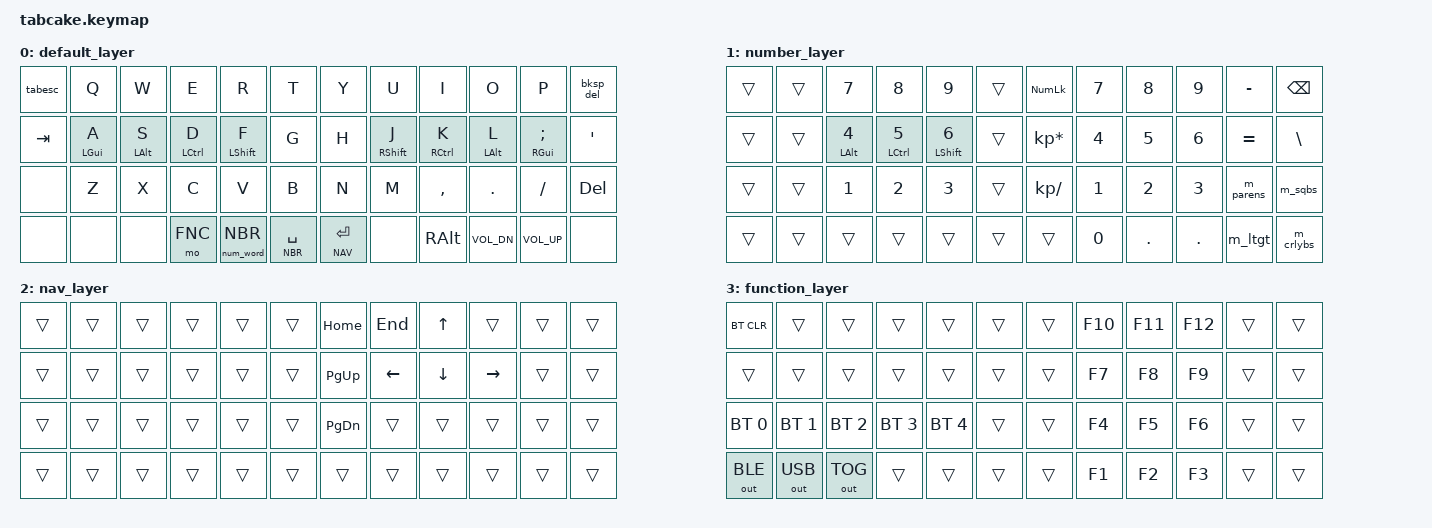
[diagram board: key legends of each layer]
/*
 * Copyright (c) 2022 The ZMK Contributors
 *
 * SPDX-License-Identifier: MIT
 */

#include <behaviors.dtsi>
#include <dt-bindings/zmk/keys.h>
#include <dt-bindings/zmk/bt.h>
#include <dt-bindings/zmk/outputs.h>
#include <behaviors/num_word.dtsi>

#define DEF 0
#define NBR 1
#define NAV 2
#define FNC 3

#define KEYS_L 0 1 3 4 5 6 12 13 14 15 16 17 24 25 26 27 28 29 
#define KEYS_R 6 7 8 9 10 11 18 19 20 21 22 23 30 31 32 33 34 35 
#define KEYS_T 36 37 38 39 40 41 42 43 44 45 46 47
#define KEYS_SH 0 2 5 25 26 27 28 

#define HM_TAPPING_TERM 200
#define HM_TAPPING_TERM_FAST 150
#define HM_PRIOR_IDLE 75


/ {
	behaviors {

		td_cw: tap_dance_cw {
            compatible = "zmk,behavior-tap-dance";
            #binding-cells = <0>;
            tapping-term-ms = <200>;
            bindings = <&mt LSHIFT &caps_word>, <&kp CAPS>;
        };	
		
		tabesc: tab_escape {
            compatible = "zmk,behavior-mod-morph";
            #binding-cells = <0>;
            bindings = <&kp TAB>, <&kp ESC>;
            mods = <(MOD_LSFT|MOD_RSFT)>;
        };
		
		bksp_del: bksp_del {
            compatible = "zmk,behavior-mod-morph";
            #binding-cells = <0>;
            bindings = <&kp BKSP>, <&kp DEL>;
            mods = <(MOD_LSFT|MOD_RSFT)>;
        };

        // Positional Homerow mods
        // Homerow mods that prevent accidental activations when rolling keys,
        // such as when typing `st` or `ne` on colemak-dh layouts or `as` on
        // qwerty.
        //
        // Works by only allowing a mod to activate within tapping-term if
        // it's on the opposite side of the keyboard or on the same side thumb
        // keys.

        // Further optimization using urob's timerless homerow mods method:
        // https://github.com/urob/zmk-config#timeless-homerow-mods

        hm_l: homerow_mods_left {
            compatible = "zmk,behavior-hold-tap";
            #binding-cells = <2>;
            bindings = <&kp>,  <&kp>;

            flavor = "balanced";
            tapping-term-ms = <HM_TAPPING_TERM>;
            quick-tap-ms = <175>;                // repeat on tap-into-hold
            require-prior-idle-ms = <HM_PRIOR_IDLE>;

            hold-trigger-key-positions = <KEYS_R KEYS_T KEYS_SH 14>;
            hold-trigger-on-release;
        };

        hm_r: homerow_mods_right {
            compatible = "zmk,behavior-hold-tap";
            #binding-cells = <2>;
            bindings = <&kp>, <&kp>;

            flavor = "balanced";
            tapping-term-ms = <HM_TAPPING_TERM>;
            quick-tap-ms = <175>;
            require-prior-idle-ms = <HM_PRIOR_IDLE>;

            hold-trigger-key-positions = <KEYS_L KEYS_T>;
            hold-trigger-on-release;
        };


        // Positional Homerow mods for shift
        // Use faster tapping term and disable some features that may
        // cause false negatives.

        hm_shift_l: hm_shift_l {
            compatible = "zmk,behavior-hold-tap";
            #binding-cells = <2>;
            bindings = <&kp>, <&kp>;

            flavor = "balanced";
            tapping-term-ms = <HM_TAPPING_TERM_FAST>;
            quick-tap-ms = <175>;
            require-prior-idle-ms = <HM_PRIOR_IDLE>;

            hold-trigger-key-positions = <KEYS_R KEYS_T>;
            // hold-trigger-on-release;
        };

        hm_shift_r: hm_shift_r {
            compatible = "zmk,behavior-hold-tap";
            #binding-cells = <2>;
            bindings = <&kp>, <&kp>;

            flavor = "balanced";
            tapping-term-ms = <HM_TAPPING_TERM_FAST>;
            quick-tap-ms = <175>;
            require-prior-idle-ms = <HM_PRIOR_IDLE>;

            hold-trigger-key-positions = <KEYS_L KEYS_T>;
            // hold-trigger-on-release;
        };

        /*
         * Non-Positional Homerow Mods
         * Used for &mm_grescm_gui behavior on left hand.
         *
         * Usage: &hm LSHFT T
         * Tap: T
         * Tap-Tap-Hold: Repeat T
         * Hold: LSHIFT
         */

        hm: homerow_mods {
            compatible = "zmk,behavior-hold-tap";
            #binding-cells = <2>;
            bindings = <&kp>, <&kp>;

            flavor = "balanced";
            tapping-term-ms = <HM_TAPPING_TERM>;
            quick-tap-ms = <200>;
        };
    };
	
	macros {
        m_ctrl_bcps: m_ctrl_bcps {
            compatible = "zmk,behavior-macro";
            #binding-cells = <0>;
            bindings
                = <&macro_press &kp LCTRL>
                , <&macro_tap &kp BSPC>
                , <&macro_release &kp LCTRL>
				;
        };
		
		m_parens: m_parens {
            compatible = "zmk,behavior-macro";
            #binding-cells = <0>;
            bindings
                = <&macro_tap &kp LPAR>
                , <&macro_tap &kp RPAR>
                , <&macro_tap &kp LEFT>				
				;
        };
		
		m_crlybs: m_crlybs {
            compatible = "zmk,behavior-macro";
            #binding-cells = <0>;
            bindings
                = <&macro_tap &kp LBRC>
                , <&macro_tap &kp RBRC>
                , <&macro_tap &kp LEFT>
				;
        };
		
		m_sqbs: m_sqbs {
            compatible = "zmk,behavior-macro";
            #binding-cells = <0>;
            bindings
                = <&macro_tap &kp LBKT>
                , <&macro_tap &kp RBKT>
                , <&macro_tap &kp LEFT>
				;
        };
		
		m_ltgt: m_ltbt {
            compatible = "zmk,behavior-macro";
            #binding-cells = <0>;
            bindings
                = <&macro_tap &kp LT>
                , <&macro_tap &kp GT>
                , <&macro_tap &kp LEFT>
				;
        };
		
		m_dqt: m_dqt {
            compatible = "zmk,behavior-macro";
            #binding-cells = <0>;
            bindings
                = <&macro_tap &kp DQT>
                , <&macro_tap &kp DQT>
                , <&macro_tap &kp LEFT>
				;
        };
    };
	
	combos {
        compatible = "zmk,combos";
		
		combo_caps {
			timeout-ms = <50>; // Detection window in milliseconds
            key-positions = <16 19>; // Positions of the keys in the matrix
            bindings = <&caps_word>; // Output when combo is triggered
        };

        combo_ctrl_bspc {
            timeout-ms = <50>; // Detection window in milliseconds
            key-positions = <10 11>; // Positions of the keys in the matrix
            bindings = <&kp LC(BSPC)>; // Output when combo is triggered
        };
		
		combo_soft_off {
            timeout-ms = <25>; // Detection window in milliseconds
            key-positions = <36 47>; // Positions of the keys in the matrix
            bindings = <&soft_off>; // Output when combo is triggered
        };
		
		combo_tilde {
            timeout-ms = <25>; // Detection window in milliseconds
            key-positions = <0 1 12>; // Positions of the keys in the matrix
            bindings = <&kp TILDE>; // Output when combo is triggered
        };
		
		combo_excl {
            timeout-ms = <25>; // Detection window in milliseconds
            key-positions = <0 1>; // Positions of the keys in the matrix
            bindings = <&kp EXCL>; // Output when combo is triggered
        };
		
		combo_at {
            timeout-ms = <25>; // Detection window in milliseconds
            key-positions = <1 2>; // Positions of the keys in the matrix
            bindings = <&kp AT>; // Output when combo is triggered
        };
		
		combo_hash {
            timeout-ms = <25>; // Detection window in milliseconds
            key-positions = <2 3>; // Positions of the keys in the matrix
            bindings = <&kp HASH>; // Output when combo is triggered
        };
		
		combo_dollar {
            timeout-ms = <25>; // Detection window in milliseconds
            key-positions = <3 4>; // Positions of the keys in the matrix
            bindings = <&kp DOLLAR>; // Output when combo is triggered
        };
		
		combo_perc {
            timeout-ms = <25>; // Detection window in milliseconds
            key-positions = <4 5>; // Positions of the keys in the matrix
            bindings = <&kp PERCENT>; // Output when combo is triggered
        };
		
		combo_caret {
            timeout-ms = <25>; // Detection window in milliseconds
            key-positions = <5 6>; // Positions of the keys in the matrix
            bindings = <&kp CARET>; // Output when combo is triggered
        };
		
		combo_amps {
            timeout-ms = <50>; // Detection window in milliseconds
            key-positions = <6 7>; // Positions of the keys in the matrix
            bindings = <&kp AMPS>; // Output when combo is triggered
        };
		
		combo_star {
            timeout-ms = <25>; // Detection window in milliseconds
            key-positions = <7 8>; // Positions of the keys in the matrix
            bindings = <&kp STAR>; // Output when combo is triggered
        };
		
		combo_lpar {
            timeout-ms = <25>; // Detection window in milliseconds
            key-positions = <8 9>; // Positions of the keys in the matrix
            bindings = <&kp LPAR>; // Output when combo is triggered
        };
		
		combo_rpar {
            timeout-ms = <25>; // Detection window in milliseconds
            key-positions = <9 10>; // Positions of the keys in the matrix
            bindings = <&kp RPAR>; // Output when combo is triggered
        };
		
		combo_bootloader {
            timeout-ms = <25>; // Detection window in milliseconds
            key-positions = <0 11 36 47>; // Positions of the keys in the matrix
            bindings = <&bootloader>; // Output when combo is triggered
        };
				
		combo_leftpar {
            timeout-ms = <50>; // Detection window in milliseconds
            key-positions = <21 22>; // Positions of the keys in the matrix
            bindings = <&kp LPAR>; // Output when combo is triggered
        };
				
		combo_rightpar {
            timeout-ms = <50>; // Detection window in milliseconds
            key-positions = <22 23>; // Positions of the keys in the matrix
            bindings = <&kp RPAR>; // Output when combo is triggered
        };
		
		combo_leftbrc {
            timeout-ms = <50>; // Detection window in milliseconds
            key-positions = <33 34>; // Positions of the keys in the matrix
            bindings = <&kp LBRC>; // Output when combo is triggered
        };
		
		combo_rightbrc {
            timeout-ms = <50>; // Detection window in milliseconds
            key-positions = <34 35>; // Positions of the keys in the matrix
            bindings = <&kp RBRC>; // Output when combo is triggered
        };
		
		combo_leftbrk {
            timeout-ms = <50>; // Detection window in milliseconds
            key-positions = <45 46>; // Positions of the keys in the matrix
            bindings = <&kp LBKT>; // Output when combo is triggered
        };
		
		combo_rightbrk {
            timeout-ms = <50>; // Detection window in milliseconds
            key-positions = <46 47>; // Positions of the keys in the matrix
            bindings = <&kp RBKT>; // Output when combo is triggered
        };
    };
	
    keymap {
        compatible = "zmk,keymap";

        default_layer {
            bindings = <
                &tabesc     &kp Q          &kp W          &kp E           &kp R       	          &kp T       	 &kp Y     	     &kp U                   &kp I            &kp O         &kp P       	  &bksp_del
                &kp TAB     &hm_l LGUI A   &hm_l LALT S   &hm_l LCTRL D   &hm_shift_l LSHIFT F    &kp G   	     &kp H           &hm_shift_r RSHIFT J    &hm_r RCTRL K    &hm_r LALT L  &hm_r RGUI SEMI   &kp SQT
                &none       &kp Z          &kp X          &kp C           &kp V      	          &kp B       	 &kp N     	     &kp M                   &kp COMMA        &kp DOT  	    &kp SLASH  	      &kp DEL
                &none       &none          &none          &mo FNC         &num_word NBR           &lt NBR SPACE  &lt NAV ENTER   &none                   &kp RALT         &kp C_VOL_DN  &kp C_VOL_UP      &none
            >;
        };

        number_layer {
            bindings = <
                &trans      &trans      &kp N7         &kp N8          &kp N9                  &trans      &kp KP_NUM      &kp N7   &kp N8   &kp N9   &kp MINUS      &kp BSPC
                &trans      &trans      &hm_l LALT N4  &hm_l LCTRL N5  &hm_shift_l LSHIFT N6   &trans      &kp KP_ASTERISK &kp N4   &kp N5   &kp N6   &kp EQUAL      &kp BSLH
                &trans      &trans      &kp N1         &kp N2          &kp N3           	   &trans      &kp KP_SLASH    &kp N1   &kp N2   &kp N3   &m_parens      &m_sqbs
                &trans      &trans      &trans         &trans          &trans      			   &trans      &trans          &kp N0   &kp DOT  &kp DOT  &m_ltgt      &m_crlybs      
			>;
        };

        nav_layer {
            bindings = <
				&trans  &trans  &trans  &trans  &trans  &trans  &kp HOME   &kp END    &kp UP   &trans     &trans   &trans
				&trans  &trans  &trans  &trans  &trans  &trans  &kp PG_UP  &kp LEFT  &kp DOWN  &kp RIGHT  &trans   &trans
				&trans  &trans  &trans  &trans  &trans  &trans  &kp PG_DN  &trans    &trans    &trans     &trans   &trans
				&trans  &trans  &trans  &trans  &trans  &trans  &trans     &trans    &trans    &trans     &trans   &trans
            >;
        };

        function_layer {
            bindings = <
                &bt BT_CLR    &trans        &trans          &trans          &trans          &trans          &trans      &kp F10     &kp F11     &kp F12  &trans      &trans
                &trans        &trans        &trans          &trans          &trans          &trans          &trans      &kp F7      &kp F8      &kp F9   &trans      &trans
                &bt BT_SEL 0  &bt BT_SEL 1  &bt BT_SEL 2    &bt BT_SEL 3    &bt BT_SEL 4    &trans  		&trans      &kp F4      &kp F5      &kp F6   &trans      &trans
                &out OUT_BLE  &out OUT_USB  &out OUT_TOG    &trans          &trans          &trans          &trans      &kp F1      &kp F2      &kp F3   &trans      &trans
            >;
        };
    };
};
